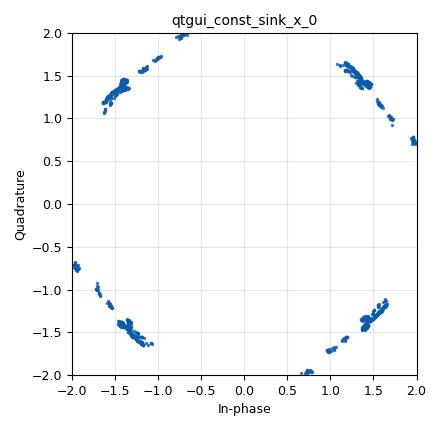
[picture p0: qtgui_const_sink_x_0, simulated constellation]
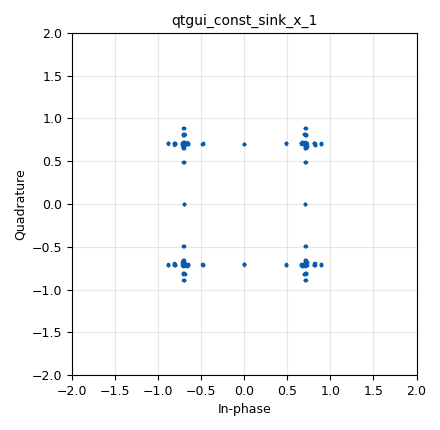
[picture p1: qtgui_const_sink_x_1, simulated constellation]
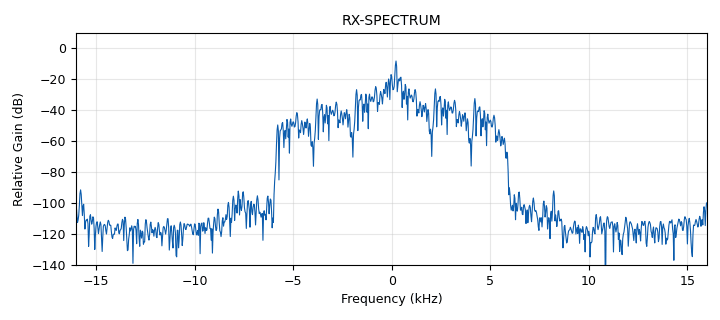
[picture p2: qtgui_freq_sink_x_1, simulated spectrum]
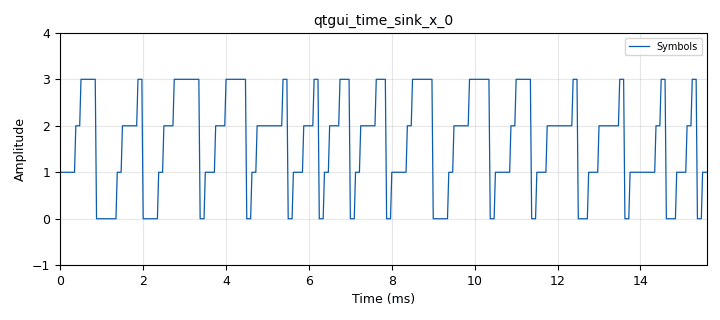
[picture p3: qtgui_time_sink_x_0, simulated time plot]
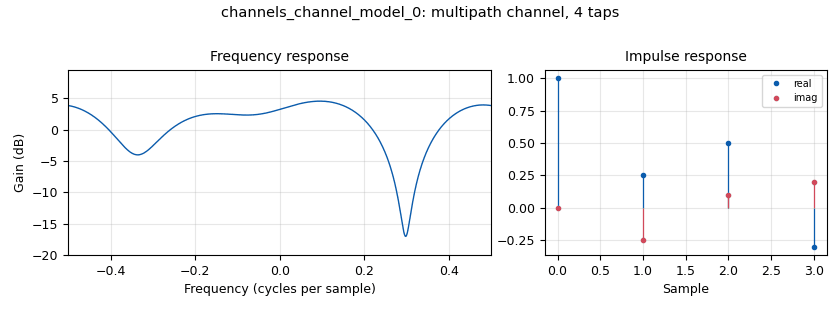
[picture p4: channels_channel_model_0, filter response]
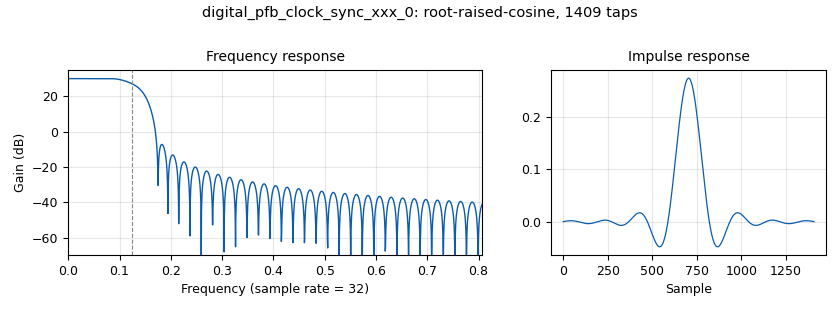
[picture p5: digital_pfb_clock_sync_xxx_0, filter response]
options:
  parameters:
    category: Custom
    generate_options: qt_gui
    id: mpsk_stage6
    output_language: python
    title: mpsk_stage6.grc
  states: {}

blocks:
- name: arity
  id: variable
  parameters:
    value: '4'
  states: {}
- name: delay
  id: variable_qtgui_range
  parameters:
    gui_hint: 1,0,1,1
    label: Delay
    start: '0'
    step: '1'
    stop: '200'
    value: '50'
  states: {}
- name: eq_gain
  id: variable_qtgui_range
  parameters:
    gui_hint: 'controls@1: 0,1,1,1'
    label: 'Equalizer: rate'
    start: '0.0'
    step: '0.001'
    stop: '0.1'
    value: '0.01'
    widget: slider
  states: {}
- name: excess_bw
  id: variable
  parameters:
    comment: Set Bandwidth
    value: '0.5'
  states: {}
- name: freq
  id: variable_qtgui_range
  parameters:
    start: 433e6
    step: 100e3
    stop: 533e6
    value: 433e6
  states: {}
- name: freq_offset
  id: variable_qtgui_range
  parameters:
    gui_hint: 'controls@0: 0,1,1,1'
    label: Frequency Offset
    start: '-0.1'
    step: '0.001'
    stop: '0.1'
    value: '0'
  states: {}
- name: if_gain
  id: variable_qtgui_range
  parameters:
    label: IF gain
    start: '0'
    step: '1'
    stop: '50'
    value: '40'
  states: {}
- name: nfilts
  id: variable
  parameters:
    value: '32'
  states: {}
- name: noise_volt
  id: variable_qtgui_range
  parameters:
    gui_hint: 'controls@0: 0,0,1,1'
    label: Noise Voltage
    start: '0'
    step: '0.01'
    stop: '1'
    value: '0.0001'
  states: {}
- name: phase_bw
  id: variable_qtgui_range
  parameters:
    gui_hint: 'controls@1: 0,2,1,1'
    label: 'Phase: Bandwidth'
    start: '0.0'
    step: '0.01'
    stop: '1.0'
    value: 6.28/100.0
    widget: slider
  states: {}
- name: qpsk
  id: variable_constellation_rect
  parameters:
    const_points: '[0.707+0.707j, -0.707+0.707j, -0.707-0.707j, 0.707-0.707j]'
    imag_sect: '2'
    real_sect: '2'
    rot_sym: '4'
    sym_map: '[0, 1, 2, 3]'
    w_imag_sect: '1'
    w_real_sect: '1'
  states: {}
- name: rf_gain
  id: variable_qtgui_range
  parameters:
    label: RF gain
    start: '0'
    step: '1'
    stop: '60'
    value: '60'
  states: {}
- name: rf_gain_0
  id: variable_qtgui_range
  parameters:
    label: RF gain
    start: '0'
    step: '1'
    stop: '60'
    value: '60'
  states: {}
- name: rf_gain_sink
  id: variable_qtgui_range
  parameters:
    label: RF gain sink
    start: '0'
    step: '1'
    stop: '60'
    value: '10'
  states: {}
- name: rrc_taps
  id: variable
  parameters:
    value: firdes.root_raised_cosine(nfilts, nfilts, 1.0/float(sps), 0.35, 11*sps*nfilts)
  states: {}
- name: rx_freq_
  id: variable
  parameters:
    comment: Set rx frequency
    value: 433e6
  states: {}
- name: samp_rate
  id: variable
  parameters:
    value: '32000'
  states: {}
- name: samp_rate_blade
  id: variable
  parameters:
    value: '750000'
  states: {}
- name: sps
  id: variable
  parameters:
    comment: Samples Per Symbol
    value: '4'
  states: {}
- name: taps
  id: variable
  parameters:
    value: '[1.0, 0.25-0.25j, 0.50 + 0.10j, -0.3 + 0.2j]'
  states: {}
- name: time_offset
  id: variable_qtgui_range
  parameters:
    gui_hint: 'controls@0: 0,2,1,1'
    label: Timing Offset
    start: '0.999'
    step: '0.0001'
    stop: '1.001'
    value: '1.00'
  states: {}
- name: timing_loop_bw
  id: variable_qtgui_range
  parameters:
    gui_hint: 'controls@1: 0,0,1,1'
    label: 'Time: BW'
    start: '0.0'
    step: '0.01'
    stop: '0.2'
    value: 6.28/100.0
    widget: slider
  states: {}
- name: tx_freq
  id: variable
  parameters:
    comment: Set tx frequency
    value: 600e6
  states: {}
- name: variable_adaptive_algorithm_0
  id: variable_adaptive_algorithm
  parameters:
    cons: qpsk
    modulus: '4'
    step_size: '.0001'
    type: cma
  states: {}
- name: analog_random_source_x_0
  id: analog_random_source_x
  parameters:
    max: '255'
    min: '0'
    num_samps: '10000'
    repeat: 'True'
    type: byte
  states: {state: disabled}
- name: blocks_char_to_float_0
  id: blocks_char_to_float
  parameters:
    scale: '1'
  states: {}
- name: blocks_char_to_float_0_0
  id: blocks_char_to_float
  parameters:
    comment: prepare to match time sink
    scale: '1'
  states: {state: disabled}
- name: blocks_char_to_float_0_0_0
  id: blocks_char_to_float
  parameters:
    scale: '1'
  states: {state: disabled}
- name: blocks_delay_0
  id: blocks_delay
  parameters:
    delay: '0'
    type: float
  states: {state: disabled}
- name: blocks_message_strobe_0
  id: blocks_message_strobe
  parameters:
    msg: pmt.intern("12345")
    period: '1000'
  states: {}
- name: blocks_throttle2_0
  id: blocks_throttle2
  parameters:
    samples_per_second: samp_rate
    type: complex
  states: {}
- name: blocks_uchar_to_float_0
  id: blocks_uchar_to_float
  parameters: {}
  states: {state: disabled}
- name: blocks_unpack_k_bits_bb_0
  id: blocks_unpack_k_bits_bb
  parameters:
    comment: unpack 2 bits per symbol into bits
    k: '2'
  states: {state: disabled}
- name: blocks_unpack_k_bits_bb_0_0
  id: blocks_unpack_k_bits_bb
  parameters:
    k: '8'
  states: {state: disabled}
- name: blocks_unpack_k_bits_bb_0_1
  id: blocks_unpack_k_bits_bb
  parameters:
    k: '8'
  states: {}
- name: channels_channel_model_0
  id: channels_channel_model
  parameters:
    comment: Simulated channel
    epsilon: time_offset
    freq_offset: freq_offset
    noise_voltage: noise_volt
    seed: '0'
    taps: taps
  states: {}
- name: controls
  id: qtgui_tab_widget
  parameters:
    gui_hint: 0,0,1,2
    label0: Channel
    label1: Receiver
    num_tabs: '2'
  states: {}
- name: digital_constellation_decoder_cb_0
  id: digital_constellation_decoder_cb
  parameters:
    comment: |-
      Decode a constellation's points from 
      a complex space to index of constellation 
      symbol based on the map of the  object.
    constellation: qpsk
  states: {}
- name: digital_constellation_modulator_0
  id: digital_constellation_modulator
  parameters:
    comment: Modulation block
    constellation: qpsk
    differential: 'True'
    excess_bw: excess_bw
    samples_per_symbol: sps
  states: {}
- name: digital_costas_loop_cc_0
  id: digital_costas_loop_cc
  parameters:
    comment: Phase and Fine Frequency Correction
    order: arity
    w: phase_bw
  states: {}
- name: digital_crc32_async_bb_1
  id: digital_crc32_async_bb
  parameters:
    check: 'False'
  states: {}
- name: digital_diff_decoder_bb_0
  id: digital_diff_decoder_bb
  parameters:
    coding: digital.DIFF_DIFFERENTIAL
    comment: |-
      translate the differential coded symbols
       back to their original symbols
    modulus: '4'
  states: {state: disabled}
- name: digital_linear_equalizer_0
  id: digital_linear_equalizer
  parameters:
    alg: variable_adaptive_algorithm_0
    comment: |-
      Multipath compensation 
      (CMA Equalizer)
    num_taps: '15'
    sps: '2'
  states: {}
- name: digital_map_bb_0
  id: digital_map_bb
  parameters:
    comment: |-
      convert the symbols 
      from the differential decoder to the 
      original symbols we transmitted.
    map: '[0,1,2,3]'
  states: {state: disabled}
- name: digital_pfb_clock_sync_xxx_0
  id: digital_pfb_clock_sync_xxx
  parameters:
    comment: Timing  synchronization
    filter_size: nfilts
    init_phase: nfilts/2
    loop_bw: timing_loop_bw
    max_dev: '1.5'
    osps: '2'
    sps: sps
    taps: rrc_taps
    type: ccf
  states: {}
- name: epy_block_0
  id: epy_block
  parameters:
    _source_code: |
      import pmt
      from gnuradio import gr

      class MessageToByteArray(gr.basic_block):
          """
          Converts incoming messages to byte array PDUs.
          Compatible with Message Strobe and Message Debug.
          """
          def __init__(self):
              gr.basic_block.__init__(
                  self,
                  name="MessageToByteArray",
                  in_sig=None,   # message input
                  out_sig=None   # message output
              )

              # Register message ports
              self.message_port_register_in(pmt.intern('in'))
              self.message_port_register_out(pmt.intern('out'))

              # Set handler for incoming messages
              self.set_msg_handler(pmt.intern('in'), self.handle_msg)

          def handle_msg(self, msg_pmt):
              """
              Handle incoming PMT messages and convert them to byte array PDUs.
              """
              # Convert incoming message to string
              if pmt.is_symbol(msg_pmt):
                  msg_str = pmt.symbol_to_string(msg_pmt)
              elif pmt.is_u8vector(msg_pmt):
                  msg_str = bytes(pmt.u8vector_elements(msg_pmt))
              else:
                  # Convert any other type to string
                  msg_str = str(msg_pmt)

              # Convert string to byte array
              byte_array = bytearray(msg_str, 'utf-8')

              # Convert to PMT u8vector
              msg_out = pmt.init_u8vector(len(byte_array), byte_array)

              # Wrap in PDU (meta, data)
              pdu = pmt.cons(pmt.make_dict(), msg_out)

              # Send message out
              self.message_port_pub(pmt.intern('out'), pdu)
  states: {}
- name: hdr_format
  id: parameter
  parameters:
    label: Header Formatter
    value: digital.header_format_default(digital.packet_utils.default_access_code, 0)
  states: {}
- name: note_0
  id: note
  parameters:
    comment: |-
      The CMA equalizer has been
      replaced by a Linear Equalizer
      and an Adaptive Algorithm for
      version 3.9
    note: CMA equalizer replaced
  states: {}
- name: note_0_0
  id: note
  parameters:
    comment: https://wiki.gnuradio.org/index.php?title=Guided_Tutorial_PSK_Demodulation
    note: Tutorial url
  states: {}
- name: note_1
  id: note
  parameters:
    comment: stream of bits generation
  states: {}
- name: pdu_pdu_to_tagged_stream_0
  id: pdu_pdu_to_tagged_stream
  parameters:
    tag: packet_len
    type: byte
  states: {}
- name: qtgui_const_sink_x_0
  id: qtgui_const_sink_x
  parameters:
    gui_hint: 'received@0: 0,0,1,1'
    size: '1024'
    type: complex
  states: {}
- name: qtgui_const_sink_x_1
  id: qtgui_const_sink_x
  parameters:
    size: '1024'
    type: complex
  states: {}
- name: qtgui_freq_sink_x_0
  id: qtgui_freq_sink_x
  parameters:
    bw: samp_rate
    comment: Frequency Spectrum of Tx
    fc: '0'
    fftsize: '1024'
    name: TX - Spectrum
    type: complex
  states: {state: disabled}
- name: qtgui_freq_sink_x_1
  id: qtgui_freq_sink_x
  parameters:
    bw: samp_rate
    fc: '0'
    fftsize: '1024'
    name: RX-SPECTRUM
    type: complex
  states: {}
- name: qtgui_time_sink_x_0
  id: qtgui_time_sink_x
  parameters:
    gui_hint: 'received@1: 0,0,1,1'
    label1: Symbols
    name: ''
    size: '500'
    srate: samp_rate
    type: float
    ymax: '4'
  states: {}
- name: qtgui_time_sink_x_0_0
  id: qtgui_time_sink_x
  parameters:
    gui_hint: 2,1,1,1
    label1: Rx Bits
    label2: Tx Bits
    name: ''
    nconnections: '2'
    size: '128'
    srate: samp_rate
    tr_mode: qtgui.TRIG_MODE_AUTO
    type: float
    ymax: '2'
  states: {state: disabled}
- name: qtgui_time_sink_x_1
  id: qtgui_time_sink_x
  parameters:
    size: '1024'
    srate: samp_rate
    type: float
  states: {state: disabled}
- name: received
  id: qtgui_tab_widget
  parameters:
    gui_hint: 2,0,1,1
    label0: Constellation
    label1: Symbols
    num_tabs: '2'
  states: {}
- name: soapy_bladerf_sink_0
  id: soapy_bladerf_sink
  parameters:
    center_freq: freq
    samp_rate: samp_rate
    type: fc32
  states: {state: disabled}
- name: soapy_bladerf_source_0
  id: soapy_bladerf_source
  parameters:
    center_freq: freq
    samp_rate: samp_rate
    type: fc32
  states: {state: disabled}

connections:
- [analog_random_source_x_0, '0', blocks_unpack_k_bits_bb_0_0, '0']
- [analog_random_source_x_0, '0', digital_constellation_modulator_0, '0']
- [blocks_char_to_float_0, '0', qtgui_time_sink_x_0, '0']
- [blocks_char_to_float_0_0, '0', qtgui_time_sink_x_0_0, '0']
- [blocks_char_to_float_0_0_0, '0', blocks_delay_0, '0']
- [blocks_delay_0, '0', qtgui_time_sink_x_0_0, '1']
- [blocks_message_strobe_0, strobe, epy_block_0, in]
- [blocks_throttle2_0, '0', channels_channel_model_0, '0']
- [blocks_uchar_to_float_0, '0', qtgui_time_sink_x_1, '0']
- [blocks_unpack_k_bits_bb_0, '0', blocks_char_to_float_0_0, '0']
- [blocks_unpack_k_bits_bb_0_0, '0', blocks_char_to_float_0_0_0, '0']
- [blocks_unpack_k_bits_bb_0_1, '0', blocks_char_to_float_0_0_0, '0']
- [blocks_unpack_k_bits_bb_0_1, '0', blocks_uchar_to_float_0, '0']
- [blocks_unpack_k_bits_bb_0_1, '0', digital_constellation_modulator_0, '0']
- [channels_channel_model_0, '0', digital_pfb_clock_sync_xxx_0, '0']
- [channels_channel_model_0, '0', qtgui_freq_sink_x_1, '0']
- [digital_constellation_decoder_cb_0, '0', blocks_char_to_float_0, '0']
- [digital_constellation_decoder_cb_0, '0', digital_diff_decoder_bb_0, '0']
- [digital_constellation_modulator_0, '0', blocks_throttle2_0, '0']
- [digital_constellation_modulator_0, '0', qtgui_const_sink_x_1, '0']
- [digital_constellation_modulator_0, '0', qtgui_freq_sink_x_0, '0']
- [digital_constellation_modulator_0, '0', soapy_bladerf_sink_0, '0']
- [digital_costas_loop_cc_0, '0', digital_constellation_decoder_cb_0, '0']
- [digital_costas_loop_cc_0, '0', qtgui_const_sink_x_0, '0']
- [digital_crc32_async_bb_1, out, pdu_pdu_to_tagged_stream_0, pdus]
- [digital_diff_decoder_bb_0, '0', digital_map_bb_0, '0']
- [digital_linear_equalizer_0, '0', digital_costas_loop_cc_0, '0']
- [digital_map_bb_0, '0', blocks_unpack_k_bits_bb_0, '0']
- [digital_pfb_clock_sync_xxx_0, '0', digital_linear_equalizer_0, '0']
- [epy_block_0, out, digital_crc32_async_bb_1, in]
- [pdu_pdu_to_tagged_stream_0, '0', blocks_unpack_k_bits_bb_0_1, '0']
- [soapy_bladerf_source_0, '0', digital_pfb_clock_sync_xxx_0, '0']
- [soapy_bladerf_source_0, '0', qtgui_freq_sink_x_1, '0']

metadata:
  file_format: 1
  grc_version: 3.10.12.0
